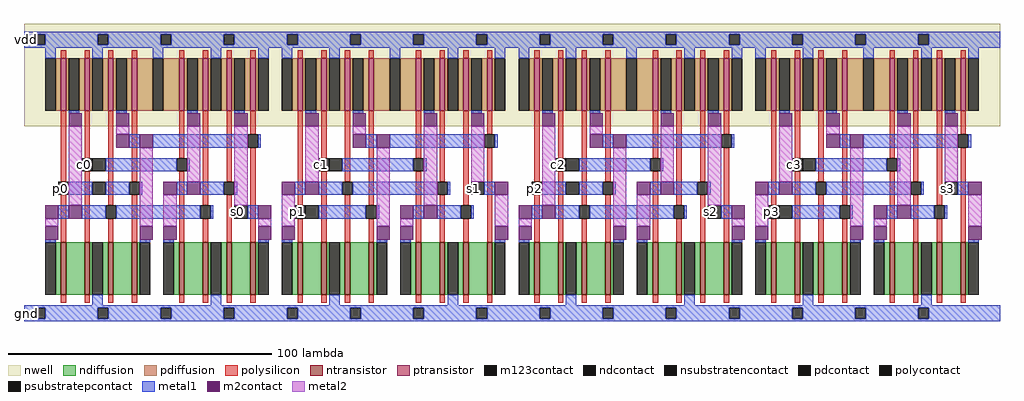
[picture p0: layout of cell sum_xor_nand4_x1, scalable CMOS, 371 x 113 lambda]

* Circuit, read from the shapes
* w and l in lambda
.subckt sum_xor_nand4_x1 c0 c1 c2 c3 p0 p1 p2 p3 s0 s1 s2 s3 vdd gnd
M1 n1 p0 n2 gnd nfet w=20 l=2
M2 gnd c0 n1 gnd nfet w=20 l=2
M3 n3 n2 gnd gnd nfet w=20 l=2
M4 n4 p0 n3 gnd nfet w=20 l=2
M5 n5 c0 n6 gnd nfet w=20 l=2
M6 gnd n2 n5 gnd nfet w=20 l=2
M7 n7 n6 gnd gnd nfet w=20 l=2
M8 s0 n4 n7 gnd nfet w=20 l=2
M9 n8 p1 n9 gnd nfet w=20 l=2
M10 gnd c1 n8 gnd nfet w=20 l=2
M11 n10 n9 gnd gnd nfet w=20 l=2
M12 n11 p1 n10 gnd nfet w=20 l=2
M13 n12 c1 n13 gnd nfet w=20 l=2
M14 gnd n9 n12 gnd nfet w=20 l=2
M15 n14 n13 gnd gnd nfet w=20 l=2
M16 s1 n11 n14 gnd nfet w=20 l=2
M17 n15 p2 n16 gnd nfet w=20 l=2
M18 gnd c2 n15 gnd nfet w=20 l=2
M19 n17 n16 gnd gnd nfet w=20 l=2
M20 n18 p2 n17 gnd nfet w=20 l=2
M21 n19 c2 n20 gnd nfet w=20 l=2
M22 gnd n16 n19 gnd nfet w=20 l=2
M23 n21 n20 gnd gnd nfet w=20 l=2
M24 s2 n18 n21 gnd nfet w=20 l=2
M25 n22 p3 n23 gnd nfet w=20 l=2
M26 gnd c3 n22 gnd nfet w=20 l=2
M27 n24 n23 gnd gnd nfet w=20 l=2
M28 n25 p3 n24 gnd nfet w=20 l=2
M29 n26 c3 n27 gnd nfet w=20 l=2
M30 gnd n23 n26 gnd nfet w=20 l=2
M31 n28 n27 gnd gnd nfet w=20 l=2
M32 s3 n25 n28 gnd nfet w=20 l=2
M33 n2 p0 vdd vdd pfet w=20 l=2
M34 vdd c0 n2 vdd pfet w=20 l=2
M35 n4 n2 vdd vdd pfet w=20 l=2
M36 vdd p0 n4 vdd pfet w=20 l=2
M37 n6 c0 vdd vdd pfet w=20 l=2
M38 vdd n2 n6 vdd pfet w=20 l=2
M39 s0 n6 vdd vdd pfet w=20 l=2
M40 vdd n4 s0 vdd pfet w=20 l=2
M41 n9 p1 vdd vdd pfet w=20 l=2
M42 vdd c1 n9 vdd pfet w=20 l=2
M43 n11 n9 vdd vdd pfet w=20 l=2
M44 vdd p1 n11 vdd pfet w=20 l=2
M45 n13 c1 vdd vdd pfet w=20 l=2
M46 vdd n9 n13 vdd pfet w=20 l=2
M47 s1 n13 vdd vdd pfet w=20 l=2
M48 vdd n11 s1 vdd pfet w=20 l=2
M49 n16 p2 vdd vdd pfet w=20 l=2
M50 vdd c2 n16 vdd pfet w=20 l=2
M51 n18 n16 vdd vdd pfet w=20 l=2
M52 vdd p2 n18 vdd pfet w=20 l=2
M53 n20 c2 vdd vdd pfet w=20 l=2
M54 vdd n16 n20 vdd pfet w=20 l=2
M55 s2 n20 vdd vdd pfet w=20 l=2
M56 vdd n18 s2 vdd pfet w=20 l=2
M57 n23 p3 vdd vdd pfet w=20 l=2
M58 vdd c3 n23 vdd pfet w=20 l=2
M59 n25 n23 vdd vdd pfet w=20 l=2
M60 vdd p3 n25 vdd pfet w=20 l=2
M61 n27 c3 vdd vdd pfet w=20 l=2
M62 vdd n23 n27 vdd pfet w=20 l=2
M63 s3 n27 vdd vdd pfet w=20 l=2
M64 vdd n25 s3 vdd pfet w=20 l=2
.ends

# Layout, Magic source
magic
tech scmos
<< nwell >>
rect 0 74 371 113
<< ntransistor >>
rect 14 10 16 30
rect 23 10 25 30
rect 32 10 34 30
rect 41 10 43 30
rect 59 10 61 30
rect 68 10 70 30
rect 77 10 79 30
rect 86 10 88 30
rect 104 10 106 30
rect 113 10 115 30
rect 122 10 124 30
rect 131 10 133 30
rect 149 10 151 30
rect 158 10 160 30
rect 167 10 169 30
rect 176 10 178 30
rect 194 10 196 30
rect 203 10 205 30
rect 212 10 214 30
rect 221 10 223 30
rect 239 10 241 30
rect 248 10 250 30
rect 257 10 259 30
rect 266 10 268 30
rect 284 10 286 30
rect 293 10 295 30
rect 302 10 304 30
rect 311 10 313 30
rect 329 10 331 30
rect 338 10 340 30
rect 347 10 349 30
rect 356 10 358 30
<< ptransistor >>
rect 14 80 16 100
rect 23 80 25 100
rect 32 80 34 100
rect 41 80 43 100
rect 59 80 61 100
rect 68 80 70 100
rect 77 80 79 100
rect 86 80 88 100
rect 104 80 106 100
rect 113 80 115 100
rect 122 80 124 100
rect 131 80 133 100
rect 149 80 151 100
rect 158 80 160 100
rect 167 80 169 100
rect 176 80 178 100
rect 194 80 196 100
rect 203 80 205 100
rect 212 80 214 100
rect 221 80 223 100
rect 239 80 241 100
rect 248 80 250 100
rect 257 80 259 100
rect 266 80 268 100
rect 284 80 286 100
rect 293 80 295 100
rect 302 80 304 100
rect 311 80 313 100
rect 329 80 331 100
rect 338 80 340 100
rect 347 80 349 100
rect 356 80 358 100
<< ndiffusion >>
rect 12 10 14 30
rect 16 10 23 30
rect 25 10 26 30
rect 30 10 32 30
rect 34 10 41 30
rect 43 10 44 30
rect 57 10 59 30
rect 61 10 68 30
rect 70 10 71 30
rect 75 10 77 30
rect 79 10 86 30
rect 88 10 89 30
rect 102 10 104 30
rect 106 10 113 30
rect 115 10 116 30
rect 120 10 122 30
rect 124 10 131 30
rect 133 10 134 30
rect 147 10 149 30
rect 151 10 158 30
rect 160 10 161 30
rect 165 10 167 30
rect 169 10 176 30
rect 178 10 179 30
rect 192 10 194 30
rect 196 10 203 30
rect 205 10 206 30
rect 210 10 212 30
rect 214 10 221 30
rect 223 10 224 30
rect 237 10 239 30
rect 241 10 248 30
rect 250 10 251 30
rect 255 10 257 30
rect 259 10 266 30
rect 268 10 269 30
rect 282 10 284 30
rect 286 10 293 30
rect 295 10 296 30
rect 300 10 302 30
rect 304 10 311 30
rect 313 10 314 30
rect 327 10 329 30
rect 331 10 338 30
rect 340 10 341 30
rect 345 10 347 30
rect 349 10 356 30
rect 358 10 359 30
<< pdiffusion >>
rect 12 80 14 100
rect 16 80 17 100
rect 21 80 23 100
rect 25 80 26 100
rect 30 80 32 100
rect 34 80 35 100
rect 39 80 41 100
rect 43 80 49 100
rect 53 80 59 100
rect 61 80 62 100
rect 66 80 68 100
rect 70 80 71 100
rect 75 80 77 100
rect 79 80 80 100
rect 84 80 86 100
rect 88 80 89 100
rect 102 80 104 100
rect 106 80 107 100
rect 111 80 113 100
rect 115 80 116 100
rect 120 80 122 100
rect 124 80 125 100
rect 129 80 131 100
rect 133 80 139 100
rect 143 80 149 100
rect 151 80 152 100
rect 156 80 158 100
rect 160 80 161 100
rect 165 80 167 100
rect 169 80 170 100
rect 174 80 176 100
rect 178 80 179 100
rect 192 80 194 100
rect 196 80 197 100
rect 201 80 203 100
rect 205 80 206 100
rect 210 80 212 100
rect 214 80 215 100
rect 219 80 221 100
rect 223 80 229 100
rect 233 80 239 100
rect 241 80 242 100
rect 246 80 248 100
rect 250 80 251 100
rect 255 80 257 100
rect 259 80 260 100
rect 264 80 266 100
rect 268 80 269 100
rect 282 80 284 100
rect 286 80 287 100
rect 291 80 293 100
rect 295 80 296 100
rect 300 80 302 100
rect 304 80 305 100
rect 309 80 311 100
rect 313 80 319 100
rect 323 80 329 100
rect 331 80 332 100
rect 336 80 338 100
rect 340 80 341 100
rect 345 80 347 100
rect 349 80 350 100
rect 354 80 356 100
rect 358 80 359 100
<< ndcontact >>
rect 8 10 12 30
rect 26 10 30 30
rect 44 10 48 30
rect 53 10 57 30
rect 71 10 75 30
rect 89 10 93 30
rect 98 10 102 30
rect 116 10 120 30
rect 134 10 138 30
rect 143 10 147 30
rect 161 10 165 30
rect 179 10 183 30
rect 188 10 192 30
rect 206 10 210 30
rect 224 10 228 30
rect 233 10 237 30
rect 251 10 255 30
rect 269 10 273 30
rect 278 10 282 30
rect 296 10 300 30
rect 314 10 318 30
rect 323 10 327 30
rect 341 10 345 30
rect 359 10 363 30
<< pdcontact >>
rect 8 80 12 100
rect 17 80 21 100
rect 26 80 30 100
rect 35 80 39 100
rect 49 80 53 100
rect 62 80 66 100
rect 71 80 75 100
rect 80 80 84 100
rect 89 80 93 100
rect 98 80 102 100
rect 107 80 111 100
rect 116 80 120 100
rect 125 80 129 100
rect 139 80 143 100
rect 152 80 156 100
rect 161 80 165 100
rect 170 80 174 100
rect 179 80 183 100
rect 188 80 192 100
rect 197 80 201 100
rect 206 80 210 100
rect 215 80 219 100
rect 229 80 233 100
rect 242 80 246 100
rect 251 80 255 100
rect 260 80 264 100
rect 269 80 273 100
rect 278 80 282 100
rect 287 80 291 100
rect 296 80 300 100
rect 305 80 309 100
rect 319 80 323 100
rect 332 80 336 100
rect 341 80 345 100
rect 350 80 354 100
rect 359 80 363 100
<< psubstratepcontact >>
rect 4 1 8 5
rect 28 1 32 5
rect 52 1 56 5
rect 76 1 80 5
rect 100 1 104 5
rect 124 1 128 5
rect 148 1 152 5
rect 172 1 176 5
rect 196 1 200 5
rect 220 1 224 5
rect 244 1 248 5
rect 268 1 272 5
rect 292 1 296 5
rect 316 1 320 5
rect 340 1 344 5
<< nsubstratencontact >>
rect 4 105 8 109
rect 28 105 32 109
rect 52 105 56 109
rect 76 105 80 109
rect 100 105 104 109
rect 124 105 128 109
rect 148 105 152 109
rect 172 105 176 109
rect 196 105 200 109
rect 220 105 224 109
rect 244 105 248 109
rect 268 105 272 109
rect 292 105 296 109
rect 316 105 320 109
rect 340 105 344 109
<< polysilicon >>
rect 14 100 16 103
rect 23 100 25 103
rect 32 100 34 103
rect 41 100 43 103
rect 59 100 61 103
rect 68 100 70 103
rect 77 100 79 103
rect 86 100 88 103
rect 104 100 106 103
rect 113 100 115 103
rect 122 100 124 103
rect 131 100 133 103
rect 149 100 151 103
rect 158 100 160 103
rect 167 100 169 103
rect 176 100 178 103
rect 194 100 196 103
rect 203 100 205 103
rect 212 100 214 103
rect 221 100 223 103
rect 239 100 241 103
rect 248 100 250 103
rect 257 100 259 103
rect 266 100 268 103
rect 284 100 286 103
rect 293 100 295 103
rect 302 100 304 103
rect 311 100 313 103
rect 329 100 331 103
rect 338 100 340 103
rect 347 100 349 103
rect 356 100 358 103
rect 14 53 16 80
rect 23 62 25 80
rect 14 30 16 48
rect 23 30 25 57
rect 32 44 34 80
rect 41 53 43 80
rect 59 62 61 80
rect 32 30 34 39
rect 41 30 43 48
rect 59 30 61 57
rect 68 44 70 80
rect 77 53 79 80
rect 86 71 88 80
rect 68 30 70 39
rect 77 30 79 48
rect 86 30 88 66
rect 104 44 106 80
rect 113 62 115 80
rect 104 30 106 39
rect 113 30 115 57
rect 122 53 124 80
rect 122 30 124 48
rect 131 44 133 80
rect 149 62 151 80
rect 131 30 133 39
rect 149 30 151 57
rect 158 53 160 80
rect 158 30 160 48
rect 167 44 169 80
rect 176 71 178 80
rect 167 30 169 39
rect 176 30 178 66
rect 194 53 196 80
rect 203 62 205 80
rect 194 30 196 48
rect 203 30 205 57
rect 212 44 214 80
rect 221 53 223 80
rect 239 62 241 80
rect 212 30 214 39
rect 221 30 223 48
rect 239 30 241 57
rect 248 44 250 80
rect 257 53 259 80
rect 266 71 268 80
rect 248 30 250 39
rect 257 30 259 48
rect 266 30 268 66
rect 284 44 286 80
rect 293 62 295 80
rect 284 30 286 39
rect 293 30 295 57
rect 302 53 304 80
rect 302 30 304 48
rect 311 44 313 80
rect 329 62 331 80
rect 311 30 313 39
rect 329 30 331 57
rect 338 53 340 80
rect 338 30 340 48
rect 347 44 349 80
rect 356 71 358 80
rect 347 30 349 39
rect 356 30 358 66
rect 14 7 16 10
rect 23 7 25 10
rect 32 7 34 10
rect 41 7 43 10
rect 59 7 61 10
rect 68 7 70 10
rect 77 7 79 10
rect 86 7 88 10
rect 104 7 106 10
rect 113 7 115 10
rect 122 7 124 10
rect 131 7 133 10
rect 149 7 151 10
rect 158 7 160 10
rect 167 7 169 10
rect 176 7 178 10
rect 194 7 196 10
rect 203 7 205 10
rect 212 7 214 10
rect 221 7 223 10
rect 239 7 241 10
rect 248 7 250 10
rect 257 7 259 10
rect 266 7 268 10
rect 284 7 286 10
rect 293 7 295 10
rect 302 7 304 10
rect 311 7 313 10
rect 329 7 331 10
rect 338 7 340 10
rect 347 7 349 10
rect 356 7 358 10
<< polycontact >>
rect 22 57 26 62
rect 13 48 17 53
rect 58 57 62 62
rect 40 48 44 53
rect 31 39 35 44
rect 85 66 89 71
rect 76 48 80 53
rect 67 39 71 44
rect 112 57 116 62
rect 103 39 107 44
rect 121 48 125 53
rect 148 57 152 62
rect 130 39 134 44
rect 157 48 161 53
rect 175 66 179 71
rect 166 39 170 44
rect 202 57 206 62
rect 193 48 197 53
rect 238 57 242 62
rect 220 48 224 53
rect 211 39 215 44
rect 265 66 269 71
rect 256 48 260 53
rect 247 39 251 44
rect 292 57 296 62
rect 283 39 287 44
rect 301 48 305 53
rect 328 57 332 62
rect 310 39 314 44
rect 337 48 341 53
rect 355 66 359 71
rect 346 39 350 44
<< metal1 >>
rect 0 109 371 110
rect 0 105 4 109
rect 8 105 28 109
rect 32 105 52 109
rect 56 105 76 109
rect 80 105 100 109
rect 104 105 124 109
rect 128 105 148 109
rect 152 105 172 109
rect 176 105 196 109
rect 200 105 220 109
rect 224 105 244 109
rect 248 105 268 109
rect 272 105 292 109
rect 296 105 316 109
rect 320 105 340 109
rect 344 105 371 109
rect 0 104 371 105
rect 8 100 12 104
rect 26 100 30 104
rect 49 100 53 104
rect 71 100 75 104
rect 89 100 93 104
rect 98 100 102 104
rect 116 100 120 104
rect 139 100 143 104
rect 161 100 165 104
rect 179 100 183 104
rect 188 100 192 104
rect 206 100 210 104
rect 229 100 233 104
rect 251 100 255 104
rect 269 100 273 104
rect 278 100 282 104
rect 296 100 300 104
rect 319 100 323 104
rect 341 100 345 104
rect 359 100 363 104
rect 17 79 21 80
rect 35 79 39 80
rect 62 79 66 80
rect 80 79 84 80
rect 107 79 111 80
rect 125 79 129 80
rect 152 79 156 80
rect 170 79 174 80
rect 197 79 201 80
rect 215 79 219 80
rect 242 79 246 80
rect 260 79 264 80
rect 287 79 291 80
rect 305 79 309 80
rect 332 79 336 80
rect 350 79 354 80
rect 40 66 44 71
rect 49 66 85 71
rect 89 66 90 71
rect 130 66 134 71
rect 139 66 175 71
rect 179 66 180 71
rect 220 66 224 71
rect 229 66 265 71
rect 269 66 270 71
rect 310 66 314 71
rect 319 66 355 71
rect 359 66 360 71
rect 31 57 58 62
rect 62 57 63 62
rect 121 57 148 62
rect 152 57 153 62
rect 211 57 238 62
rect 242 57 243 62
rect 301 57 328 62
rect 332 57 333 62
rect 17 48 26 53
rect 31 48 40 53
rect 44 48 45 53
rect 58 48 62 53
rect 67 48 76 53
rect 80 48 81 53
rect 103 48 107 53
rect 112 48 121 53
rect 125 48 157 53
rect 161 48 162 53
rect 175 48 179 53
rect 197 48 206 53
rect 211 48 220 53
rect 224 48 225 53
rect 238 48 242 53
rect 247 48 256 53
rect 260 48 261 53
rect 283 48 287 53
rect 292 48 301 53
rect 305 48 337 53
rect 341 48 342 53
rect 355 48 359 53
rect 13 39 17 44
rect 22 39 31 44
rect 35 39 67 44
rect 71 39 72 44
rect 85 39 89 44
rect 112 39 130 44
rect 134 39 135 44
rect 148 39 152 44
rect 157 39 166 44
rect 170 39 171 44
rect 193 39 197 44
rect 202 39 211 44
rect 215 39 247 44
rect 251 39 252 44
rect 265 39 269 44
rect 292 39 310 44
rect 314 39 315 44
rect 328 39 332 44
rect 337 39 346 44
rect 350 39 351 44
rect 8 30 12 31
rect 44 30 48 31
rect 53 30 57 31
rect 89 30 93 31
rect 98 30 102 31
rect 134 30 138 31
rect 143 30 147 31
rect 179 30 183 31
rect 188 30 192 31
rect 224 30 228 31
rect 233 30 237 31
rect 269 30 273 31
rect 278 30 282 31
rect 314 30 318 31
rect 323 30 327 31
rect 359 30 363 31
rect 26 6 30 10
rect 71 6 75 10
rect 116 6 120 10
rect 161 6 165 10
rect 206 6 210 10
rect 251 6 255 10
rect 296 6 300 10
rect 341 6 345 10
rect 0 5 371 6
rect 0 1 4 5
rect 8 1 28 5
rect 32 1 52 5
rect 56 1 76 5
rect 80 1 100 5
rect 104 1 124 5
rect 128 1 148 5
rect 152 1 172 5
rect 176 1 196 5
rect 200 1 220 5
rect 224 1 244 5
rect 248 1 268 5
rect 272 1 292 5
rect 296 1 316 5
rect 320 1 340 5
rect 344 1 371 5
rect 0 0 371 1
<< m2contact >>
rect 17 74 22 79
rect 35 74 40 79
rect 62 74 67 79
rect 80 74 85 79
rect 107 74 112 79
rect 125 74 130 79
rect 152 74 157 79
rect 170 74 175 79
rect 197 74 202 79
rect 215 74 220 79
rect 242 74 247 79
rect 260 74 265 79
rect 287 74 292 79
rect 305 74 310 79
rect 332 74 337 79
rect 350 74 355 79
rect 35 66 40 71
rect 44 66 49 71
rect 125 66 130 71
rect 134 66 139 71
rect 215 66 220 71
rect 224 66 229 71
rect 305 66 310 71
rect 314 66 319 71
rect 53 48 58 53
rect 62 48 67 53
rect 98 48 103 53
rect 107 48 112 53
rect 179 48 184 53
rect 233 48 238 53
rect 242 48 247 53
rect 278 48 283 53
rect 287 48 292 53
rect 359 48 364 53
rect 8 39 13 44
rect 17 39 22 44
rect 89 39 94 44
rect 143 39 148 44
rect 152 39 157 44
rect 188 39 193 44
rect 197 39 202 44
rect 269 39 274 44
rect 323 39 328 44
rect 332 39 337 44
rect 8 31 13 36
rect 44 31 49 36
rect 53 31 58 36
rect 89 31 94 36
rect 98 31 103 36
rect 134 31 139 36
rect 143 31 148 36
rect 179 31 184 36
rect 188 31 193 36
rect 224 31 229 36
rect 233 31 238 36
rect 269 31 274 36
rect 278 31 283 36
rect 314 31 319 36
rect 323 31 328 36
rect 359 31 364 36
<< metal2 >>
rect 17 44 22 74
rect 35 71 40 74
rect 8 36 13 39
rect 44 36 49 66
rect 62 53 67 74
rect 53 36 58 48
rect 80 44 85 74
rect 107 53 112 74
rect 125 71 130 74
rect 89 36 94 39
rect 98 36 103 48
rect 134 36 139 66
rect 152 44 157 74
rect 170 53 175 74
rect 143 36 148 39
rect 179 36 184 48
rect 197 44 202 74
rect 215 71 220 74
rect 188 36 193 39
rect 224 36 229 66
rect 242 53 247 74
rect 233 36 238 48
rect 260 44 265 74
rect 287 53 292 74
rect 305 71 310 74
rect 269 36 274 39
rect 278 36 283 48
rect 314 36 319 66
rect 332 44 337 74
rect 350 53 355 74
rect 323 36 328 39
rect 359 36 364 48
<< m123contact >>
rect 26 57 31 62
rect 26 48 31 53
rect 116 57 121 62
rect 80 39 85 44
rect 107 39 112 44
rect 170 48 175 53
rect 206 57 211 62
rect 206 48 211 53
rect 296 57 301 62
rect 260 39 265 44
rect 287 39 292 44
rect 350 48 355 53
<< labels >>
rlabel metal1 22 57 24 62 0 c0
port 1 nsew
rlabel metal1 112 57 114 62 0 c1
port 2 nsew
rlabel metal1 202 57 204 62 0 c2
port 3 nsew
rlabel metal1 292 57 294 62 0 c3
port 4 nsew
rlabel metal1 13 48 15 53 0 p0
port 5 nsew
rlabel metal1 103 39 105 44 0 p1
port 6 nsew
rlabel metal1 193 48 195 53 0 p2
port 7 nsew
rlabel metal1 283 39 285 44 0 p3
port 8 nsew
rlabel metal1 80 39 82 44 0 s0
port 9 nsew
rlabel metal1 170 48 172 53 0 s1
port 10 nsew
rlabel metal1 260 39 262 44 0 s2
port 11 nsew
rlabel metal1 350 48 352 53 0 s3
port 12 nsew
rlabel metal1 0 104 2 110 0 vdd
port 13 nsew
rlabel metal1 0 0 2 6 0 gnd
port 14 nsew
<< end >>
